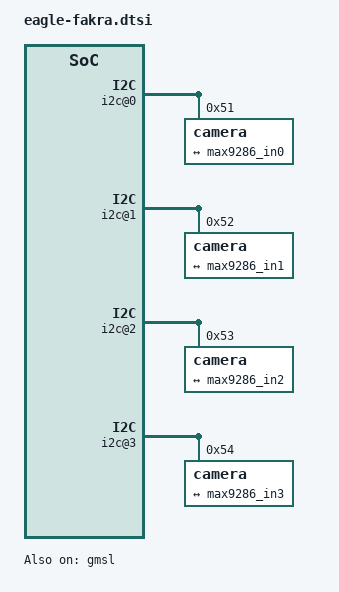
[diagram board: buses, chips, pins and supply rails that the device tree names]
/*
 * Device Tree Source (overlay) for the Eagle V3M FAKRA connectors
 *
 * Copyright (C) 2017 Ideas on Board <kieran.bingham@ideasonboard.com>
 *
 * This file is licensed under the terms of the GNU General Public License
 * version 2.  This program is licensed "as is" without any warranty of any
 * kind, whether express or implied.
 *
 * This overlay allows you to define cameras connected to the FAKRA connectors
 * on the Eagle-V3M (or compatible) board.
 */

/*
 * Enable the cameras by specifying the camera compatible on the appropriate
 * line. Comment out the defines to disconnect the camera from the DTB.
 *
 * The following cameras are currently supported:
 *    "imi,rdacm20"
 *    "imi,rdacm21"
 */

#include <dt-bindings/gpio/gpio.h>

#define EAGLE_CAMERA0 "imi,rdacm20"
#define EAGLE_CAMERA1 "imi,rdacm20"
#define EAGLE_CAMERA2 "imi,rdacm20"
#define EAGLE_CAMERA3 "imi,rdacm20"

/* Define the endpoint links */
#ifdef EAGLE_CAMERA0
&max9286_in0 {
	remote-endpoint = <&fakra_con0>;
};
#endif

#ifdef EAGLE_CAMERA1
&max9286_in1 {
	remote-endpoint = <&fakra_con1>;
};
#endif

#ifdef EAGLE_CAMERA2
&max9286_in2 {
	remote-endpoint = <&fakra_con2>;
};
#endif

#ifdef EAGLE_CAMERA3
&max9286_in3 {
	remote-endpoint = <&fakra_con3>;
};
#endif

/* Cameras are 'attached' to the GMSL I2C busses */
&gmsl {

#if defined(EAGLE_CAMERA0) || defined(EAGLE_CAMERA1) || \
    defined(EAGLE_CAMERA2) || defined(EAGLE_CAMERA3)
	status = "okay";

	/*
	 * Enable power to the cameras with CSI0_CAMVDD_EN.
	 * Design note Pg12, states cameras are on when signal is low.
	 */
	enable-gpios = <&gpio2 3 GPIO_ACTIVE_LOW>;
#endif

#ifdef EAGLE_CAMERA0
	i2c@0 {
		status = "okay";

		camera@51 {
			compatible = EAGLE_CAMERA0;
			reg = <0x51 0x61>;

			port {
				fakra_con0: endpoint {
					remote-endpoint = <&max9286_in0>;
				};
			};
		};
	};
#endif

#ifdef EAGLE_CAMERA1
	i2c@1 {
		status = "okay";

		camera@52 {
			compatible = EAGLE_CAMERA1;
			reg = <0x52 0x62>;

			port {
				fakra_con1: endpoint {
					remote-endpoint = <&max9286_in1>;
				};
			};
		};
	};
#endif

#ifdef EAGLE_CAMERA2
	i2c@2 {
		status = "okay";

		camera@53 {
			compatible = EAGLE_CAMERA2;
			reg = <0x53 0x63>;

			port {
				fakra_con2: endpoint {
					remote-endpoint = <&max9286_in2>;
				};
			};
		};
	};
#endif

#ifdef EAGLE_CAMERA3
	i2c@3 {
		status = "okay";

		camera@54 {
			compatible = EAGLE_CAMERA3;
			reg = <0x54 0x64>;

			port {
				fakra_con3: endpoint {
					remote-endpoint = <&max9286_in3>;
				};
			};
		};
	};
#endif
};
 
